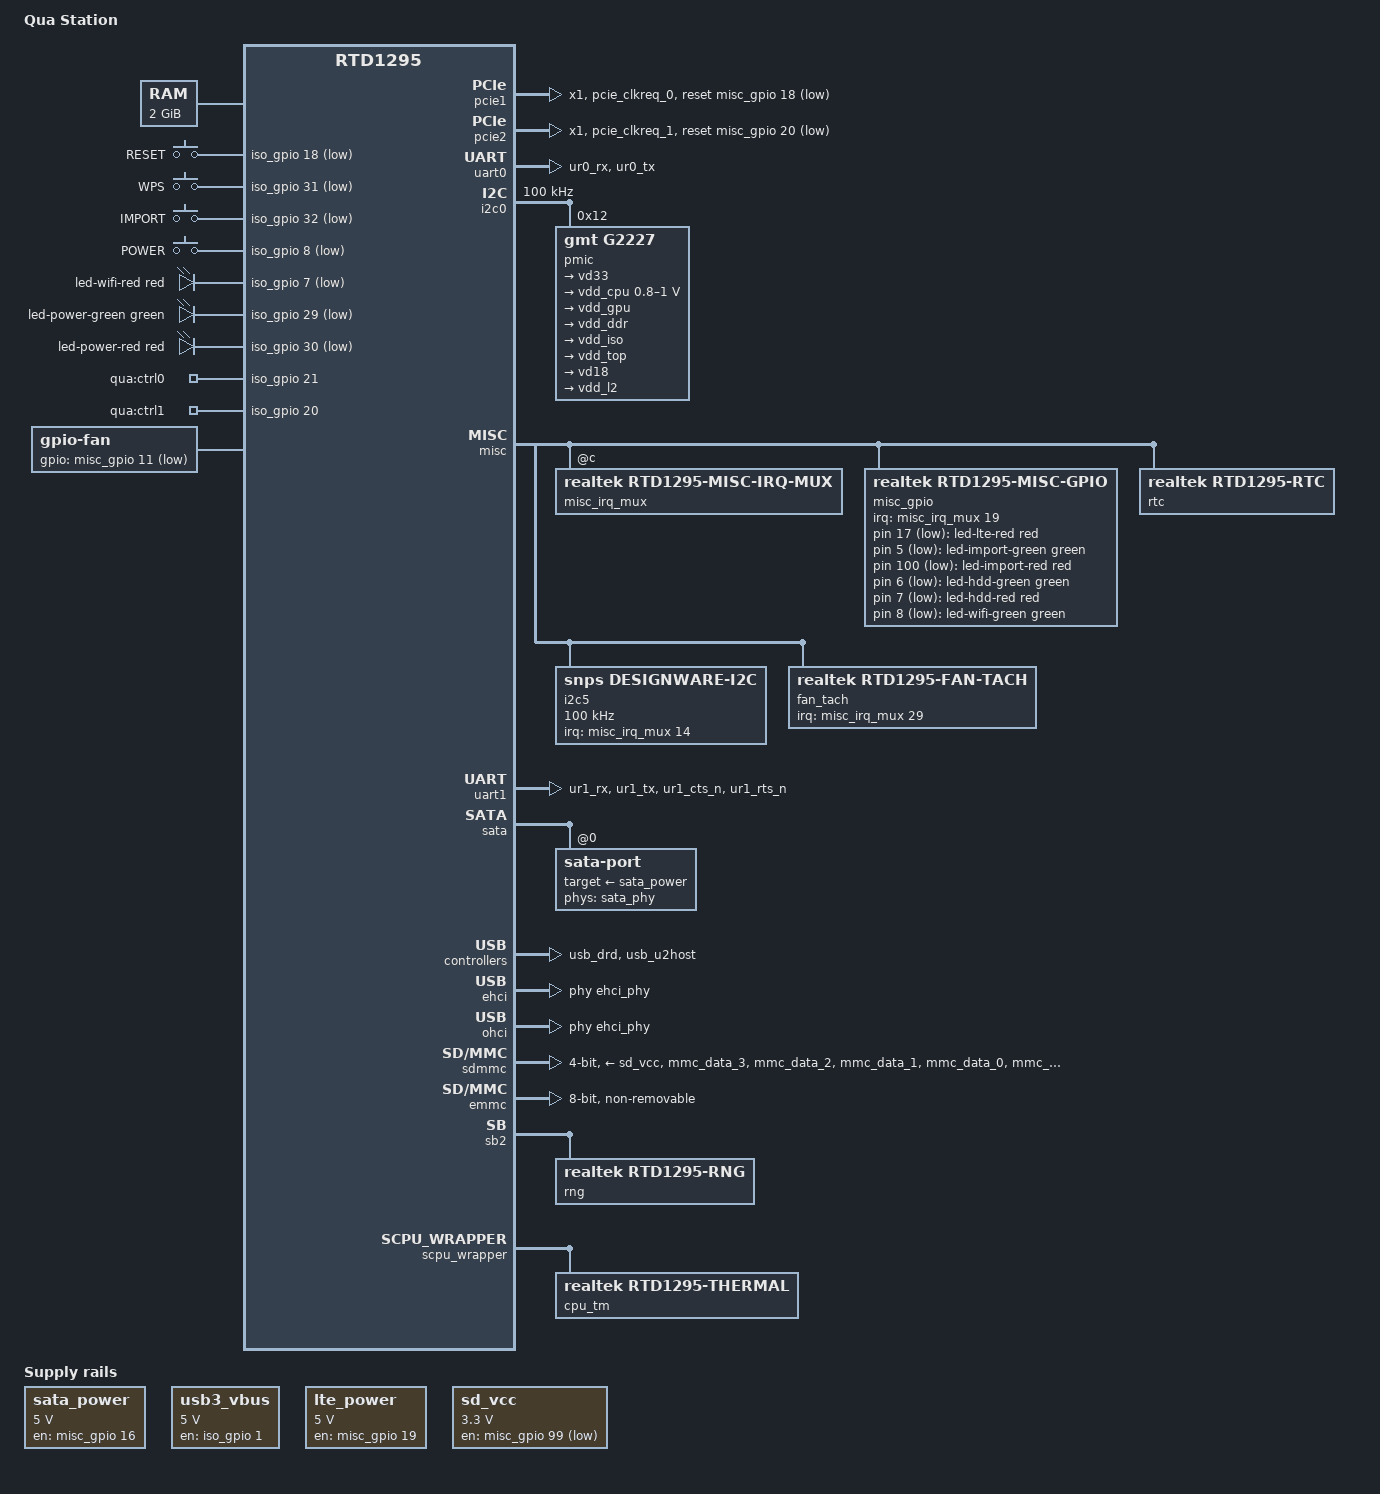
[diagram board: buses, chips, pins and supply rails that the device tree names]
// SPDX-License-Identifier: (GPL-2.0-or-later OR BSD-2-Clause)
/*
 * Device Tree for the au Qua Station (KDDI / Askey)
 *
 * Realtek RTD1295, 2 GiB DDR, 8 GB eMMC, SD card slot, SATA, two PCIe slots,
 * USB 3.0 + USB 2.0 host ports and an internal LTE modem on USB.
 */

/dts-v1/;

/*
 * Memory the vendor BSP keeps away from Linux, so that the audio CPU
 * firmware (ACPU, started by U-Boot) does not overwrite memory in use by
 * Linux. rtd129x.dtsi already covers 0x0-0x100000 and the ACPU firmware at
 * 0x1b00000.
 *
 * /memreserve/ rather than no-map: U-Boot loads the kernel at 0x03000000,
 * inside the media ION heap, as the vendor firmware did.
 */
/memreserve/	0x0000000002600000 0x0000000000600000;	/* ION audio heap */
/memreserve/	0x0000000002c00000 0x000000000b800000;	/* ION media heap 1 */
/memreserve/	0x0000000010000000 0x0000000000014000;	/* ACPU I/D mem */
/memreserve/	0x0000000011000000 0x0000000009200000;	/* ION media heap 2 */

#include "rtd1295.dtsi"
#include <dt-bindings/gpio/gpio.h>
#include <dt-bindings/thermal/thermal.h>
#include <dt-bindings/input/input.h>
#include <dt-bindings/leds/common.h>
#include <dt-bindings/clock/realtek,rtd1295-clk.h>

/ {
	compatible = "askey,quastation", "realtek,rtd1295";
	model = "Qua Station";

	memory@1f000 {
		device_type = "memory";
		reg = <0x1f000 0x7ffe1000>; /* boot ROM to 2 GiB */
	};

	aliases {
		serial0 = &uart0;
	};

	chosen {
		stdout-path = "serial0:115200n8";
		bootargs = "earlycon=uart8250,mmio32,0x98007800 console=ttyS0,115200 loglevel=8";
	};

};

&cpu0 {
	enable-method = "realtek,rtd1295-spin-table";
	cpu-release-addr = <0x0 0x9801aa44>;
	clocks = <&crt_clk RTD1295_CRT_CLK_SCPU>;
	operating-points-v2 = <&cpu_opp>;
	cpu-supply = <&vdd_cpu>;
	#cooling-cells = <2>;
};

&cpu1 {
	enable-method = "realtek,rtd1295-spin-table";
	cpu-release-addr = <0x0 0x9801aa44>;
	clocks = <&crt_clk RTD1295_CRT_CLK_SCPU>;
	operating-points-v2 = <&cpu_opp>;
	cpu-supply = <&vdd_cpu>;
	#cooling-cells = <2>;
};

&cpu2 {
	enable-method = "realtek,rtd1295-spin-table";
	cpu-release-addr = <0x0 0x9801aa44>;
	clocks = <&crt_clk RTD1295_CRT_CLK_SCPU>;
	operating-points-v2 = <&cpu_opp>;
	cpu-supply = <&vdd_cpu>;
	#cooling-cells = <2>;
};

&cpu3 {
	enable-method = "realtek,rtd1295-spin-table";
	cpu-release-addr = <0x0 0x9801aa44>;
	clocks = <&crt_clk RTD1295_CRT_CLK_SCPU>;
	operating-points-v2 = <&cpu_opp>;
	cpu-supply = <&vdd_cpu>;
	#cooling-cells = <2>;
};

&uart0 {
	status = "okay";
};

/* The PCIe interrupt-map entries use 0 parent address cells */
&gic {
	#address-cells = <0>;
};

/* Interrupt muxes and GPIO */

&iso {
	iso_irq_mux: interrupt-controller@0 {
		compatible = "realtek,rtd1295-iso-irq-mux";
		reg = <0x0 0x4>,	/* ISR (status, write 1 to clear) */
		      <0x40 0x4>;	/* SCPU interrupt enable */
		interrupts = <GIC_SPI 41 IRQ_TYPE_LEVEL_HIGH>;
		interrupt-controller;
		#interrupt-cells = <1>;
	};

	iso_gpio: gpio@100 {
		compatible = "realtek,rtd1295-iso-gpio";
		reg = <0x100 0x100>,	/* GPIO registers */
		      <0x0 0xe8>;	/* GPIO interrupt status (GPA 0x08/0xe0, GPDA 0x0c/0xe4) */
		interrupt-parent = <&iso_irq_mux>;
		interrupts = <19>, <20>;
		gpio-controller;
		#gpio-cells = <2>;
		/* iso GPIO n = iso_pinctrl pin n */
		gpio-ranges = <&iso_pinctrl 0 0 35>;
	};
};

&misc {
	misc_irq_mux: interrupt-controller@c {
		compatible = "realtek,rtd1295-misc-irq-mux";
		reg = <0xc 0x4>,	/* ISR (status, write 1 to clear) */
		      <0x80 0x4>;	/* SCPU interrupt enable */
		interrupts = <GIC_SPI 40 IRQ_TYPE_LEVEL_HIGH>;
		interrupt-controller;
		#interrupt-cells = <1>;
	};

	misc_gpio: gpio@100 {
		compatible = "realtek,rtd1295-misc-gpio";
		reg = <0x100 0x100>,	/* GPIO registers */
		      <0x0 0xc0>;	/* GPIO interrupt status (GPA 0x40/0x44/0xa4/0xb8, GPDA 0x54/0x58/0xa8/0xbc) */
		interrupt-parent = <&misc_irq_mux>;
		interrupts = <19>, <20>;
		gpio-controller;
		#gpio-cells = <2>;
		/*
		 * misc GPIO 0..53 = sb2 pins 0..53, 54..63 = disp pins 0..9,
		 * 64..100 = cr pins 0..36 (vendor BSP numbering). Requesting
		 * a GPIO muxes the pad to "gpio".
		 */
		gpio-ranges = <&sb2_pinctrl 0 0 54>,
			      <&disp_pinctrl 0 54 10>,
			      <&cr_pinctrl 0 64 37>;
	};
};

&uart0 {
	interrupt-parent = <&iso_irq_mux>;
	interrupts = <2>;
};

&uart1 {
	interrupt-parent = <&misc_irq_mux>;
	interrupts = <3>;
};

&uart2 {
	interrupt-parent = <&misc_irq_mux>;
	interrupts = <8>;
};

/* SATA */
/ {
	sata_power: regulator-sata-power {
		compatible = "regulator-fixed";
		regulator-name = "sata-power";
		regulator-min-microvolt = <5000000>;
		regulator-max-microvolt = <5000000>;
		gpio = <&misc_gpio 16 GPIO_ACTIVE_HIGH>;
		enable-active-high;
		/* let the drive power up before the PHY/link comes up */
		startup-delay-us = <100000>;
	};
};

&rbus {
	sata_phy: phy@3ff60 {
		compatible = "realtek,rtd1295-sata-phy";
		reg = <0x3ff60 0x10>;
		#phy-cells = <0>;
		realtek,sb2 = <&sb2>;
		/* BSP "tx-driving = <2>": 683 mV max swing */
		realtek,tx-driving = <2>;
	};

	sata: sata@3f000 {
		compatible = "realtek,rtd1295-ahci", "generic-ahci";
		reg = <0x3f000 0x1000>;
		interrupts = <GIC_SPI 28 IRQ_TYPE_LEVEL_HIGH>;
		/* BSP forces PORTS_IMPL; only port 0 is wired on RTD1295 */
		ports-implemented = <0x1>;
		/* released in this order before phy_init() */
		resets = <&reset1 RTD1295_RSTN_SATA_0>,
			 <&reset1 RTD1295_RSTN_SATA_PHY_0>,
			 <&reset1 RTD1295_RSTN_SATA_PHY_POW_0>;
		#address-cells = <1>;
		#size-cells = <0>;

		sata-port@0 {
			reg = <0>;
			phys = <&sata_phy>;
			target-supply = <&sata_power>;
		};
	};
};

/* PCIe */
/ {
	soc@0 {
		pcie1: pcie@9804e000 {
			compatible = "realtek,rtd1295-pcie1";
			reg = <0x9804e000 0x1000>,
			      <0x9804f000 0x1000>,
			      <0x9801c600 0x100>;
			reg-names = "ctrl", "mmio", "phy-mux";
			pinctrl-names = "default";
			pinctrl-0 = <&pcie1_clk_pins>;
			device_type = "pci";
			#address-cells = <3>;
			#size-cells = <2>;
			bus-range = <0x00 0xff>;
			linux,pci-domain = <0>;
			num-lanes = <1>;
			/* 32-bit non-prefetchable MEM, 16 MiB, 1:1 */
			ranges = <0x02000000 0x0 0xc0000000 0xc0000000 0x0 0x01000000>;
			#interrupt-cells = <1>;
			interrupt-map-mask = <0 0 0 0>;
			interrupt-map = <0 0 0 0 &gic GIC_SPI 61 IRQ_TYPE_LEVEL_HIGH>;
			resets = <&reset2 RTD1295_RSTN_PCIE0_STITCH>,
				 <&reset2 RTD1295_RSTN_PCIE0>,
				 <&reset2 RTD1295_RSTN_PCIE0_CORE>,
				 <&reset2 RTD1295_RSTN_PCIE0_POWER>,
				 <&reset2 RTD1295_RSTN_PCIE0_NONSTICH>,
				 <&reset2 RTD1295_RSTN_PCIE0_PHY>,
				 <&reset4 RTD1295_RSTN_PCIE0_PHY_MDIO>;
			reset-names = "stitch", "rstn", "core", "power",
				      "nonstitch", "phy", "phy_mdio";
			reset-gpios = <&misc_gpio 18 GPIO_ACTIVE_LOW>;
			realtek,sb2 = <&sb2>;
			status = "okay";
		};

		pcie2: pcie@9803b000 {
			compatible = "realtek,rtd1295-pcie2";
			reg = <0x9803b000 0x1000>,
			      <0x9803c000 0x1000>,
			      <0x9801c600 0x100>;
			reg-names = "ctrl", "mmio", "phy-mux";
			pinctrl-names = "default";
			pinctrl-0 = <&pcie2_clk_pins>;
			device_type = "pci";
			#address-cells = <3>;
			#size-cells = <2>;
			bus-range = <0x01 0xff>;
			linux,pci-domain = <1>;
			num-lanes = <1>;
			/* BSP "speed-mode = <0>": train at Gen1 */
			max-link-speed = <1>;
			ranges = <0x02000000 0x0 0xc1000000 0xc1000000 0x0 0x01000000>;
			#interrupt-cells = <1>;
			interrupt-map-mask = <0 0 0 0>;
			interrupt-map = <0 0 0 0 &gic GIC_SPI 62 IRQ_TYPE_LEVEL_HIGH>;
			resets = <&reset2 RTD1295_RSTN_PCIE1_STITCH>,
				 <&reset2 RTD1295_RSTN_PCIE1>,
				 <&reset2 RTD1295_RSTN_PCIE1_CORE>,
				 <&reset2 RTD1295_RSTN_PCIE1_POWER>,
				 <&reset2 RTD1295_RSTN_PCIE1_NONSTICH>,
				 <&reset2 RTD1295_RSTN_PCIE1_PHY>,
				 <&reset4 RTD1295_RSTN_PCIE1_PHY_MDIO>;
			reset-names = "stitch", "rstn", "core", "power",
				      "nonstitch", "phy", "phy_mdio";
			reset-gpios = <&misc_gpio 20 GPIO_ACTIVE_LOW>;
			realtek,sb2 = <&sb2>;
			status = "okay";
		};
	};
};

/*
 * Buttons, LEDs, thermal, I2C, fan tachometer, RNG and eFuse
 *
 * Muxed interrupt numbers are the status bit numbers in the ISO/MISC
 * interrupt status registers.
 */
/ {
	aliases {
		i2c0 = &i2c0;
		i2c5 = &i2c5;
	};

	gpio-keys {
		compatible = "gpio-keys";

		/* All buttons read 0 when pressed */
		button-reset {
			label = "RESET";
			gpios = <&iso_gpio 18 GPIO_ACTIVE_LOW>;
			linux,code = <KEY_RESTART>;
		};

		button-wps {
			label = "WPS";
			gpios = <&iso_gpio 31 GPIO_ACTIVE_LOW>;
			linux,code = <KEY_WPS_BUTTON>;
		};

		button-import {
			label = "IMPORT";	/* "COPY" on the case */
			gpios = <&iso_gpio 32 GPIO_ACTIVE_LOW>;
			linux,code = <KEY_COPY>;
		};

		button-power {
			label = "POWER";
			gpios = <&iso_gpio 8 GPIO_ACTIVE_LOW>;
			linux,code = <KEY_POWER>;
			wakeup-source;
		};
	};

	/*
	 * All LEDs are active low; red + green together show orange/yellow.
	 * Only the green power LED is on at boot, as in the vendor firmware.
	 */
	leds {
		compatible = "gpio-leds";

		/* misc GPIO 19 is the LTE modem power, not an LED */

		led-lte-red {
			color = <LED_COLOR_ID_RED>;
			function = LED_FUNCTION_MOBILE;
			gpios = <&misc_gpio 17 GPIO_ACTIVE_LOW>;
			default-state = "off";
		};

		led-import-green {
			color = <LED_COLOR_ID_GREEN>;
			function = "import";
			gpios = <&misc_gpio 5 GPIO_ACTIVE_LOW>;
			default-state = "off";
		};

		led-import-red {
			color = <LED_COLOR_ID_RED>;
			function = "import";
			gpios = <&misc_gpio 100 GPIO_ACTIVE_LOW>;
			default-state = "off";
		};

		led-hdd-green {
			color = <LED_COLOR_ID_GREEN>;
			function = LED_FUNCTION_DISK;
			gpios = <&misc_gpio 6 GPIO_ACTIVE_LOW>;
			default-state = "off";
		};

		led-hdd-red {
			color = <LED_COLOR_ID_RED>;
			function = LED_FUNCTION_DISK;
			gpios = <&misc_gpio 7 GPIO_ACTIVE_LOW>;
			default-state = "off";
		};

		led-wifi-green {
			color = <LED_COLOR_ID_GREEN>;
			function = LED_FUNCTION_WLAN;
			gpios = <&misc_gpio 8 GPIO_ACTIVE_LOW>;
			default-state = "off";
		};

		led-wifi-red {
			color = <LED_COLOR_ID_RED>;
			function = LED_FUNCTION_WLAN;
			gpios = <&iso_gpio 7 GPIO_ACTIVE_LOW>;
			default-state = "off";
		};

		led-power-green {
			color = <LED_COLOR_ID_GREEN>;
			function = LED_FUNCTION_POWER;
			gpios = <&iso_gpio 29 GPIO_ACTIVE_LOW>;
			default-state = "on";
		};

		led-power-red {
			color = <LED_COLOR_ID_RED>;
			function = LED_FUNCTION_POWER;
			gpios = <&iso_gpio 30 GPIO_ACTIVE_LOW>;
			default-state = "off";
		};

		/*
		 * Purpose unknown (led_ctrl/led_ctrl1 in the vendor DT, probably
		 * LED supply/brightness enables); kept at the vendor levels.
		 * iso GPIO 21 is also the PWM0 pad; the PWM is not used.
		 */
		led-ctrl0 {
			label = "qua:ctrl0";
			gpios = <&iso_gpio 21 GPIO_ACTIVE_HIGH>;
			default-state = "off";
		};

		led-ctrl1 {
			label = "qua:ctrl1";
			gpios = <&iso_gpio 20 GPIO_ACTIVE_HIGH>;
			default-state = "on";
		};
	};

	thermal-zones {
		cpu-thermal {
			polling-delay-passive = <250>;
			polling-delay = <1000>;
			thermal-sensors = <&cpu_tm>;

			trips {
				/* fan on (gpio-fan, misc GPIO 11); idle is ~60 C */
				cpu_fan: cpu-fan {
					temperature = <55000>;
					hysteresis = <5000>;
					type = "active";
				};

				/* passive trips from the vendor BSP */
				cpu_alert0: cpu-alert0 {
					temperature = <105000>;
					hysteresis = <3000>;
					type = "passive";
				};

				cpu_alert1: cpu-alert1 {
					temperature = <115000>;
					hysteresis = <3000>;
					type = "passive";
				};

				cpu-crit {
					temperature = <130000>;
					hysteresis = <2000>;
					type = "critical";
				};
			};

			cooling-maps {
				map-fan {
					trip = <&cpu_fan>;
					cooling-device = <&fan THERMAL_NO_LIMIT THERMAL_NO_LIMIT>;
				};
				map-cpu {
					trip = <&cpu_alert0>;
					cooling-device =
						<&cpu0 THERMAL_NO_LIMIT THERMAL_NO_LIMIT>,
						<&cpu1 THERMAL_NO_LIMIT THERMAL_NO_LIMIT>,
						<&cpu2 THERMAL_NO_LIMIT THERMAL_NO_LIMIT>,
						<&cpu3 THERMAL_NO_LIMIT THERMAL_NO_LIMIT>;
				};
			};
		};

		cr-thermal {
			polling-delay-passive = <0>;
			polling-delay = <0>;
			thermal-sensors = <&cr_tm>;
		};
	};
};

&rbus {
	/* Lies inside the card reader block, which it shares */
	cr_tm: thermal-sensor@124b4 {
		compatible = "realtek,rtd1295-thermal";
		reg = <0x124b4 0x20>;
		#thermal-sensor-cells = <0>;
	};

	efuse: efuse@17000 {
		compatible = "realtek,rtd1295-efuse";
		reg = <0x17000 0x400>;
		read-only;

		nvmem-layout {
			compatible = "fixed-layout";
			#address-cells = <1>;
			#size-cells = <1>;

			/*
			 * Only one cell per unit address can be described. The
			 * vendor BSP also defines sub-fields overlapping these:
			 * etn_phy_amp (1b9 bits 2+16), etn_phy_adc (1bb bits 2+16),
			 * etn_phy_r (1bf bits 1+4), etn_phy_rc (1bf..1c0 bits 5+4),
			 * usb_cc_en (1d8 bit 2), usb_cc1_4_7_k_cal (1d8 bits 3+4),
			 * usb_cc1_12_k_cal (1d8..1d9 bits 7+4), usb_cc2_4_7_k_cal
			 * (1d9 bits 3+4), usb_cc2_12_k_cal (1d9..1da bits 7+4) and
			 * cc_cal (1dc..1df bits 4+24).
			 */
			efuse_uuid: uuid@1a4 {
				reg = <0x1a4 0xc>;
			};

			/* Ethernet PHY calibration block */
			efuse_etn_phy: etn-phy@1b9 {
				reg = <0x1b9 0x9>;
				bits = <2 64>;
			};

			efuse_pwr_id: pwr-id@1cc {
				reg = <0x1cc 0x1>;
				bits = <6 2>;
			};

			efuse_package_id: package-id@1d8 {
				reg = <0x1d8 0x1>;
				bits = <0 2>;
			};

			efuse_top_iddq: top-iddq@1da {
				reg = <0x1da 0x2>;
				bits = <3 6>;
			};

			efuse_cpu_iddq: cpu-iddq@1db {
				reg = <0x1db 0x1>;
				bits = <1 6>;
			};

			efuse_usb_dp_dm: usb-dp-dm@1dc {
				reg = <0x1dc 0x1>;
				bits = <0 4>;
			};

			efuse_chip_id: chip-id@200 {
				reg = <0x200 0x10>;
			};

			efuse_prog_rvd: prog-rvd@3fc {
				reg = <0x3fc 0x4>;
			};
		};
	};
};

&iso {
	/*
	 * The I2C controllers are Synopsys DesignWare (v1.14a) clocked from the
	 * 27 MHz crystal. The vendor BSP sets a Realtek SDA delay register
	 * outside the block (ISO+0x84/0x80, MISC+0x8c..0x98) to 518 ns; the
	 * DesignWare SDA hold time is used for the same purpose here.
	 */
	i2c0: i2c@d00 {
		compatible = "snps,designware-i2c";
		reg = <0xd00 0x100>;
		interrupt-parent = <&iso_irq_mux>;
		interrupts = <8>;
		clocks = <&osc27M>;
		resets = <&iso_reset RTD1295_ISO_RSTN_I2C_0>;
		clock-frequency = <100000>;
		i2c-sda-hold-time-ns = <518>;
		#address-cells = <1>;
		#size-cells = <0>;

		/*
		 * GMT G2227 PMIC. Only dcdc2 (CPU) is scaled; the other rails
		 * have no voltage constraints and keep the U-Boot settings.
		 * ldo3 (L2) stays at 0.9 V, which the vendor BSP uses while
		 * the CPU rail is at most 1.0 V.
		 */
		pmic@12 {
			compatible = "gmt,g2227";
			reg = <0x12>;

			regulators {
				vd33: dcdc1 {
					regulator-name = "vd33";
					regulator-boot-on;
					regulator-always-on;
				};

				vdd_cpu: dcdc2 {
					regulator-name = "vdd_cpu";
					regulator-min-microvolt = <800000>;
					regulator-max-microvolt = <1000000>;
					regulator-boot-on;
					regulator-always-on;
				};

				vdd_gpu: dcdc3 {
					regulator-name = "vdd_gpu";
					regulator-boot-on;
					regulator-always-on;
				};

				vdd_ddr: dcdc4 {
					regulator-name = "vdd_ddr";
					regulator-boot-on;
					regulator-always-on;
				};

				vdd_iso: dcdc5 {
					regulator-name = "vdd_iso";
					regulator-boot-on;
					regulator-always-on;
				};

				vdd_top: dcdc6 {
					regulator-name = "vdd_top";
					regulator-boot-on;
					regulator-always-on;
				};

				vd18: ldo2 {
					regulator-name = "vd18";
					regulator-boot-on;
					regulator-always-on;
				};

				vdd_l2: ldo3 {
					regulator-name = "vdd_l2";
					regulator-boot-on;
					regulator-always-on;
				};
			};
		};
	};

	i2c1: i2c@c00 {
		compatible = "snps,designware-i2c";
		reg = <0xc00 0x100>;
		interrupt-parent = <&iso_irq_mux>;
		interrupts = <11>;
		clocks = <&osc27M>;
		resets = <&iso_reset RTD1295_ISO_RSTN_I2C_1>;
		clock-frequency = <100000>;
		i2c-sda-hold-time-ns = <518>;
		#address-cells = <1>;
		#size-cells = <0>;
		status = "disabled";	/* no devices; disabled in the vendor DT */
	};
};

&misc {
	/* Counts days from 2014-01-01, like the vendor driver */
	rtc@600 {
		compatible = "realtek,rtd1295-rtc";
		reg = <0x600 0x100>;
		clocks = <&crt_clk RTD1295_CRT_CLK_EN_MISC_RTC>;
	};

	i2c2: i2c@700 {
		compatible = "snps,designware-i2c";
		reg = <0x700 0x100>;
		interrupt-parent = <&misc_irq_mux>;
		interrupts = <26>;
		clocks = <&osc27M>;
		resets = <&reset2 RTD1295_RSTN_I2C_2>;
		clock-frequency = <100000>;
		i2c-sda-hold-time-ns = <518>;
		#address-cells = <1>;
		#size-cells = <0>;
		status = "disabled";	/* pins not muxed to I2C on this board */
	};

	i2c3: i2c@900 {
		compatible = "snps,designware-i2c";
		reg = <0x900 0x100>;
		interrupt-parent = <&misc_irq_mux>;
		interrupts = <23>;
		clocks = <&osc27M>;
		resets = <&reset2 RTD1295_RSTN_I2C_3>;
		clock-frequency = <100000>;
		i2c-sda-hold-time-ns = <518>;
		#address-cells = <1>;
		#size-cells = <0>;
		status = "disabled";	/* pins not muxed to I2C on this board */
	};

	i2c4: i2c@a00 {
		compatible = "snps,designware-i2c";
		reg = <0xa00 0x100>;
		interrupt-parent = <&misc_irq_mux>;
		interrupts = <15>;
		clocks = <&osc27M>;
		resets = <&reset2 RTD1295_RSTN_I2C_4>;
		clock-frequency = <100000>;
		i2c-sda-hold-time-ns = <518>;
		#address-cells = <1>;
		#size-cells = <0>;
		status = "disabled";	/* disabled in the vendor DT */
	};

	i2c5: i2c@b00 {
		compatible = "snps,designware-i2c";
		reg = <0xb00 0x100>;
		interrupt-parent = <&misc_irq_mux>;
		interrupts = <14>;
		clocks = <&osc27M>;
		resets = <&reset2 RTD1295_RSTN_I2C_5>;
		clock-frequency = <100000>;
		i2c-sda-hold-time-ns = <518>;
		#address-cells = <1>;
		#size-cells = <0>;
		/* pins muxed to I2C, no devices known */
	};

	/*
	 * Fan tachometer (pad gpio_9). The fan speed is not driven by the PWM
	 * block, which the vendor DT disables; see gpio-fan below.
	 */
	fan_tach: fan@c00 {
		compatible = "realtek,rtd1295-fan-tach";
		reg = <0xc00 0x14>;
		interrupt-parent = <&misc_irq_mux>;
		interrupts = <29>;
		resets = <&reset4 RTD1295_RSTN_FAN>;
	};
};

&sb2 {
	/* 0x44 (RNG_DUMMY) is the spin-table cpu-release-addr: not mapped */
	rng@a00 {
		compatible = "realtek,rtd1295-rng";
		reg = <0xa00 0x3c>;
	};
};

&scpu_wrapper {
	cpu_tm: thermal-sensor@150 {
		compatible = "realtek,rtd1295-thermal";
		reg = <0x150 0x20>;
		#thermal-sensor-cells = <0>;
	};
};

/*
 * USB
 *
 *   DRD    dwc3 @0x98020000 (USB2 + USB3 PHY): rear USB 3.0 Type-A port.
 *          Host only; the vendor Type-C logic is unused, there is no Type-C
 *          connector. VBUS is iso GPIO 1.
 *   U2HOST dwc3 @0x98029000 (USB2 PHY only): internal LTE modem
 *          (Askey MDM9307, 05c6:9026), powered by misc GPIO 19.
 *   EHCI/OHCI @0x98013000/0x98013400 (RLE0599 PHY): rear USB 2.0 Type-A
 *          port, the one U-Boot boots from. VBUS is not switchable.
 *   U3HOST dwc3 @0x981f0000 is not wired on this board and not described.
 *
 * All USB controllers share GIC SPI 21. The USB power domain in ISO
 * 0x98007fb0 is on at boot and not handled by Linux.
 *
 * The USB2 PHY regions overlap the glue (0x13200/0x13c00) and core
 * (0x20000/0x29000) regions on purpose: they are single registers inside
 * those blocks.
 *
 * Binding deviations:
 *  - realtek,rtd-dwc3 expects a second "pm control" reg; the RTD1295 has no
 *    such register, so it is omitted.
 *  - "realtek,rtd1295-ehci"/"-ohci" and "realtek,rtd1295-rle0599-phy" are
 *    not documented yet.
 */

/ {
	/* rear USB 3.0 port VBUS */
	usb3_vbus: regulator-usb3-vbus {
		compatible = "regulator-fixed";
		regulator-name = "usb3-vbus";
		regulator-min-microvolt = <5000000>;
		regulator-max-microvolt = <5000000>;
		gpio = <&iso_gpio 1 GPIO_ACTIVE_HIGH>;
		enable-active-high;
		regulator-boot-on;
		regulator-always-on;	/* no consumer: dwc3 has no vbus-supply */
	};

	/*
	 * LTE modem power. The vendor DT also declares an active-low LED
	 * "lte_led_g" on this pin; it must not be added, as lighting it would
	 * switch the modem off.
	 */
	lte_power: regulator-lte-power {
		compatible = "regulator-fixed";
		regulator-name = "lte-power";
		regulator-min-microvolt = <5000000>;
		regulator-max-microvolt = <5000000>;
		gpio = <&misc_gpio 19 GPIO_ACTIVE_HIGH>;
		enable-active-high;
		regulator-boot-on;
		regulator-always-on;
	};
};

&rbus {
	/* DRD: rear USB 3.0 port */
	drd_usb2phy: usb-phy@13214 {
		compatible = "realtek,rtd1295-usb2phy";
		reg = <0x13214 0x4>,	/* wrapper VStatusOut2 */
		      <0x28280 0x4>;	/* GUSB2PHYACC0 of dwc3 @0x20000 */
		#phy-cells = <0>;
	};

	drd_usb3phy: usb-phy@13210 {
		compatible = "realtek,rtd1295-usb3phy";
		reg = <0x13210 0x4>;	/* MDIO control */
		#phy-cells = <0>;
	};

	usb_drd: usb@13200 {
		compatible = "realtek,rtd1295-dwc3", "realtek,rtd-dwc3";
		reg = <0x13200 0x150>;	/* includes the Type-C SS lane switch at 0x1334c */
		/*
		 * Clock and resets shared by all USB controllers, released once
		 * in the vendor order by whichever glue probes first.
		 */
		clocks = <&crt_clk RTD1295_CRT_CLK_EN_USB>;
		resets = <&reset1 RTD1295_RSTN_USB_PHY0>,
			 <&reset1 RTD1295_RSTN_USB3_PHY0_POW>,
			 <&reset1 RTD1295_RSTN_USB_PHY1>,
			 <&reset2 RTD1295_RSTN_USB_PHY2>,
			 <&reset1 RTD1295_RSTN_USB3_P0_MDIO>,
			 <&reset1 RTD1295_RSTN_USB>;
		reset-names = "u2phy0", "u3phy0", "u2phy1", "u2phy2",
			      "u3mdio0", "usb";
		#address-cells = <1>;
		#size-cells = <1>;
		ranges;

		usb@20000 {
			compatible = "snps,dwc3";
			reg = <0x20000 0x9000>;
			interrupts = <GIC_SPI 21 IRQ_TYPE_LEVEL_HIGH>;
			/* without the USB3 PHY the port only runs at USB2 speeds */
			phys = <&drd_usb2phy>, <&drd_usb3phy>;
			phy-names = "usb2-phy", "usb3-phy";
			resets = <&reset1 RTD1295_RSTN_USB_PHY0>,
				 <&reset1 RTD1295_RSTN_USB3_PHY0_POW>,
				 <&reset1 RTD1295_RSTN_USB3_P0_MDIO>,
				 <&reset1 RTD1295_RSTN_USB>;
			dr_mode = "host";
			snps,dis_u2_susphy_quirk;
		};
	};

	/* U2HOST: internal LTE modem */
	u2host_usb2phy: usb-phy@13c14 {
		compatible = "realtek,rtd1295-usb2phy";
		reg = <0x13c14 0x4>,	/* wrapper VStatusOut2 */
		      <0x31280 0x4>;	/* GUSB2PHYACC0 of dwc3 @0x29000 */
		#phy-cells = <0>;
	};

	usb_u2host: usb@13c00 {
		compatible = "realtek,rtd1295-dwc3", "realtek,rtd-dwc3";
		reg = <0x13c00 0x140>;
		/* same shared clock and resets as usb_drd */
		clocks = <&crt_clk RTD1295_CRT_CLK_EN_USB>;
		resets = <&reset1 RTD1295_RSTN_USB_PHY0>,
			 <&reset1 RTD1295_RSTN_USB3_PHY0_POW>,
			 <&reset1 RTD1295_RSTN_USB_PHY1>,
			 <&reset2 RTD1295_RSTN_USB_PHY2>,
			 <&reset1 RTD1295_RSTN_USB3_P0_MDIO>,
			 <&reset1 RTD1295_RSTN_USB>;
		reset-names = "u2phy0", "u3phy0", "u2phy1", "u2phy2",
			      "u3mdio0", "usb";
		#address-cells = <1>;
		#size-cells = <1>;
		ranges;

		usb@29000 {
			compatible = "snps,dwc3";
			reg = <0x29000 0x9000>;
			interrupts = <GIC_SPI 21 IRQ_TYPE_LEVEL_HIGH>;
			phys = <&u2host_usb2phy>;
			phy-names = "usb2-phy";
			resets = <&reset1 RTD1295_RSTN_USB_PHY1>,
				 <&reset1 RTD1295_RSTN_USB>;
			dr_mode = "host";
			/* no USB3 PHY */
			maximum-speed = "high-speed";
			snps,dis_u2_susphy_quirk;
		};
	};

	/* EHCI/OHCI: rear USB 2.0 port */
	ehci_phy: usb-phy@13820 {
		compatible = "realtek,rtd1295-rle0599-phy";
		reg = <0x13820 0x8>,	/* wrapper: OHCI clock gate, VStatusOut2 */
		      <0x130a4 0x4>;	/* EHCI INSNREG05 */
		#phy-cells = <0>;
	};

	ehci: usb@13000 {
		compatible = "realtek,rtd1295-ehci", "generic-ehci";
		reg = <0x13000 0x100>;
		interrupts = <GIC_SPI 21 IRQ_TYPE_LEVEL_HIGH>;
		phys = <&ehci_phy>;
		resets = <&reset2 RTD1295_RSTN_USB_PHY2>,
			 <&reset1 RTD1295_RSTN_USB>;
		companion = <&ohci>;
	};

	ohci: usb@13400 {
		compatible = "realtek,rtd1295-ohci", "generic-ohci";
		reg = <0x13400 0x100>;
		interrupts = <GIC_SPI 21 IRQ_TYPE_LEVEL_HIGH>;
		phys = <&ehci_phy>;
		resets = <&reset2 RTD1295_RSTN_USB_PHY2>,
			 <&reset1 RTD1295_RSTN_USB>;
	};
};

/*
 * Clock controllers. They use the regmap of the parent syscon and have no
 * reg of their own. The UARTs keep using clock-frequency: the UR1/UR2
 * gates have no parent rate.
 */
&crt {
	crt_clk: clock-controller {
		compatible = "realtek,rtd1295-crt-clk";
		clocks = <&osc27M>;
		#clock-cells = <1>;
	};
};

&iso {
	iso_clk: clock-controller {
		compatible = "realtek,rtd1295-iso-clk";
		clocks = <&osc27M>;
		#clock-cells = <1>;
	};
};

/*
 * Pin controllers. The pad registers are split over four blocks (ISO, SB2,
 * DISP and CR), each with its own controller. Pin names are the vendor pad
 * names, one group per pad.
 *
 * The vendor I2C states only set the pull select bit without enabling the
 * pull, so the I2C states here set no bias.
 */

&iso {
	iso_pinctrl: pinctrl@300 {
		compatible = "realtek,rtd1295-iso-pinctrl";
		reg = <0x300 0x24>;

		uart0_pins: uart0-pins {
			pins = "ur0_rx", "ur0_tx";
			function = "uart0";
		};

		uart1_pins: uart1-pins {
			pins = "ur1_rx", "ur1_tx", "ur1_cts_n", "ur1_rts_n";
			function = "uart1";
		};

		i2c0_pins: i2c0-pins {
			pins = "i2c_scl_0", "i2c_sda_0";
			function = "i2c0";
		};

		i2c1_pins: i2c1-pins {
			pins = "i2c_scl_1", "i2c_sda_1";
			function = "i2c1";
		};

		/*
		 * The RESET button (iso GPIO 18) is on the i2c_scl_1 pad. Left
		 * muxed to the unused I2C1 block, it reads low (pressed) once
		 * that block's clock is gated, so mux it to GPIO.
		 */
		reset_key_pins: reset-key-pins {
			pins = "i2c_scl_1";
			function = "gpio";
		};

		i2c6_pins: i2c6-pins {
			pins = "i2c_scl_6", "i2c_sda_6";
			function = "i2c6";
		};

		etn_led_pins: etn-led-pins {
			pins = "etn_led_link", "etn_led_rxtx";
			function = "etn_led";
		};

		ir_rx_pins: ir-rx-pins {
			pins = "ir_rx";
			function = "ir_rx";
		};

		ir_tx_pins: ir-tx-pins {
			pins = "ir_tx";
			function = "ir_tx";
		};
	};
};

&sb2 {
	sb2_pinctrl: pinctrl@900 {
		compatible = "realtek,rtd1295-sb2-pinctrl";
		reg = <0x900 0x80>;

		i2c5_pins: i2c5-pins {
			pins = "i2c_sda_5", "i2c_scl_5";
			function = "i2c5";
		};

		/* SPI flash pads used as GPIO */
		spi_loc_gpio_pins: spi-loc-gpio-pins {
			pins = "gpio_0", "gpio_1", "gpio_2", "gpio_3", "sf_en";
			function = "gpio";
		};

		/* fan tachometer input */
		dc_fan_sensor_pins: dc-fan-sensor-pins {
			pins = "gpio_9";
			function = "dc_fan_sensor";
		};

		/* Ethernet RGMII */
		rgmii0_pins: rgmii0-pins {
			pins = "rgmii0_txc", "rgmii0_tx_ctl", "rgmii0_txd_0",
			       "rgmii0_txd_1", "rgmii0_txd_2", "rgmii0_txd_3",
			       "rgmii0_rxc", "rgmii0_rx_ctl", "rgmii0_rxd_0",
			       "rgmii0_rxd_1", "rgmii0_rxd_2", "rgmii0_rxd_3",
			       "rgmii0_mdio", "rgmii0_mdc";
			function = "rgmii";
		};

		/*
		 * PCIe PERST# (misc GPIO 18 and 20). Requesting the GPIO muxes
		 * these pads already; the states are not referenced.
		 */
		pcie1_perst_pins: pcie1-perst-pins {
			pins = "sensor_rst";
			function = "gpio";
		};

		pcie2_perst_pins: pcie2-perst-pins {
			pins = "sensor_stb_1";
			function = "gpio";
		};
	};
};

&rbus {
	disp_pinctrl: pinctrl@4d000 {
		compatible = "realtek,rtd1295-disp-pinctrl";
		reg = <0x4d000 0x10>;
		/* audio pads only, none used on this board */
	};

	cr_pinctrl: pinctrl@12600 {
		compatible = "realtek,rtd1295-cr-pinctrl";
		reg = <0x12600 0x20>;

		/* BSP sdcard_low: pull_en = 1, pull_sel = 0 */
		sdcard_low_pins: sdcard-low-pins {
			pins = "mmc_data_3", "mmc_data_2", "mmc_data_1",
			       "mmc_data_0", "mmc_clk", "mmc_cmd";
			function = "sd_card";
			bias-pull-down;
		};

		/* BSP sdcard_high: pull_en = 1, pull_sel = 1 */
		sdcard_high_pins: sdcard-high-pins {
			pins = "mmc_cd", "mmc_wp";
			function = "sd_card";
			bias-pull-up;
		};

		pcie1_clk_pins: pcie1-clk-pins {
			pins = "pcie_clkreq_0";
			function = "pcie";
		};

		pcie2_clk_pins: pcie2-clk-pins {
			pins = "pcie_clkreq_1";
			function = "pcie";
		};
	};
};

/* Pin states applied at boot, as in the vendor firmware */
&cr_pinctrl {
	pinctrl-names = "default";
	pinctrl-0 = <&sdcard_low_pins>, <&sdcard_high_pins>;
};

&iso_pinctrl {
	pinctrl-names = "default";
	pinctrl-0 = <&i2c0_pins>, <&reset_key_pins>, <&i2c6_pins>, <&etn_led_pins>;
};

&sb2_pinctrl {
	pinctrl-names = "default";
	pinctrl-0 = <&i2c5_pins>, <&spi_loc_gpio_pins>, <&dc_fan_sensor_pins>;
};

&uart0 {
	pinctrl-names = "default";
	pinctrl-0 = <&uart0_pins>;
};

&uart1 {
	pinctrl-names = "default";
	pinctrl-0 = <&uart1_pins>;
};

/*
 * eMMC and SD card
 *
 * The card reader block is split between the eMMC controller (DesignWare
 * MSHC + Realtek wrapper, 0x12000-0x125ff), the CR pin controller
 * (0x12600-0x1261f) and the pad drive registers shared by eMMC and SD
 * (0x12620-0x12643).
 *
 * Resets are deliberately not described: the eMMC reset also resets the CR
 * pad block, and the "cr" reset covers the DMA path shared by eMMC, SD and
 * SDIO. U-Boot releases both.
 */

/ {
	sd_vcc: regulator-sd-vcc {
		compatible = "regulator-fixed";
		regulator-name = "sd-vcc";
		regulator-min-microvolt = <3300000>;
		regulator-max-microvolt = <3300000>;
		/* driven low = card powered */
		gpio = <&misc_gpio 99 GPIO_ACTIVE_LOW>;
	};
};

&cr_pinctrl {
	/* The SD controller claims the card pins itself: no hog */
	/delete-property/ pinctrl-names;
	/delete-property/ pinctrl-0;

	/* card powered: pull-ups on CMD/DAT, pull-down on CLK (BSP 0x33333323) */
	sdcard_on_low_pins: sdcard-on-low-pins {
		pins = "mmc_data_3", "mmc_data_2", "mmc_data_1",
		       "mmc_data_0", "mmc_cmd";
		function = "sd_card";
		bias-pull-up;
	};

	sdcard_on_clk_pins: sdcard-on-clk-pins {
		pins = "mmc_clk";
		function = "sd_card";
		bias-pull-down;
	};
};

&rbus {
	cr_pad_drive: syscon@12620 {
		compatible = "syscon";
		reg = <0x12620 0x24>;
		reg-io-width = <4>;
	};

	sdmmc: mmc@10400 {
		compatible = "realtek,rtd1295-sd";
		reg = <0x10400 0x200>;
		interrupts = <GIC_SPI 44 IRQ_TYPE_LEVEL_HIGH>;
		realtek,crt = <&crt>;
		realtek,pad-syscon = <&cr_pad_drive>;
		realtek,sb2 = <&sb2>;
		/* "default" = card unpowered, pulled down */
		pinctrl-names = "default", "power-on";
		pinctrl-0 = <&sdcard_low_pins>, <&sdcard_high_pins>;
		pinctrl-1 = <&sdcard_on_low_pins>, <&sdcard_on_clk_pins>,
			    <&sdcard_high_pins>;
		vmmc-supply = <&sd_vcc>;
		bus-width = <4>;
		cap-sd-highspeed;
		no-sdio;
		no-mmc;
		/* card detect and write protect come from the controller */
		status = "okay";
	};

	emmc: mmc@12000 {
		compatible = "realtek,rtd1295-emmc";
		realtek,sb2 = <&sb2>;
		reg = <0x12000 0x600>;
		interrupts = <GIC_SPI 42 IRQ_TYPE_LEVEL_HIGH>;
		realtek,crt = <&crt>;
		realtek,pad-syscon = <&cr_pad_drive>;
		/* in 32-bit words; FIFOTH as left by U-Boot cannot be used */
		fifo-depth = <128>;
		bus-width = <8>;
		non-removable;
		cap-mmc-highspeed;
		no-sd;
		no-sdio;
		/* <clk cmd data ds> pad drive, vendor values */
		realtek,drive-strength-hs = <0x77 0x77 0x77 0x77>;
		realtek,drive-strength-hs200 = <0xbb 0xbb 0xbb 0xbb>;
		/* HS200 at ~190 MHz; tuning only uses read commands */
		mmc-hs200-1_8v;
		status = "okay";
	};
};

/* Clocks */
&sata {
	clocks = <&crt_clk RTD1295_CRT_CLK_EN_SATA_0>,
		 <&crt_clk RTD1295_CRT_CLK_EN_SATA_ALIVE_0>;
};

&pcie1 {
	clocks = <&crt_clk RTD1295_CRT_CLK_EN_PCIE0>;
};

&pcie2 {
	clocks = <&crt_clk RTD1295_CRT_CLK_EN_PCIE1>;
};

&emmc {
	clocks = <&crt_clk RTD1295_CRT_CLK_EN_EMMC>,
		 <&crt_clk RTD1295_CRT_CLK_EN_EMMC_IP>,
		 <&crt_clk RTD1295_CRT_CLK_EN_CR>;
	clock-names = "emmc", "emmc_ip", "cr";
};

&sdmmc {
	clocks = <&crt_clk RTD1295_CRT_CLK_EN_CR>,
		 <&crt_clk RTD1295_CRT_CLK_EN_SD_IP>;
	clock-names = "cr", "sd_ip";
};

&ehci {
	clocks = <&crt_clk RTD1295_CRT_CLK_EN_USB>;
};

&ohci {
	clocks = <&crt_clk RTD1295_CRT_CLK_EN_USB>;
};

&i2c0 {
	clocks = <&iso_clk RTD1295_ISO_CLK_EN_I2C0>;
};

&i2c5 {
	clocks = <&crt_clk RTD1295_CRT_CLK_EN_MISC_I2C_5>;
};

&fan_tach {
	clocks = <&crt_clk RTD1295_CRT_CLK_EN_FAN>;
};

/ {
	/*
	 * CPU OPPs from the vendor BSP. Only OPPs needing at most 1.0 V are
	 * listed: above that the vendor BSP also raises the L2 rail.
	 */
	cpu_opp: opp-table-cpu {
		compatible = "operating-points-v2";
		opp-shared;

		opp-300000000 {
			opp-hz = /bits/ 64 <300000000>;
			opp-microvolt = <800000>;
			clock-latency-ns = <150000>;
		};
		opp-500000000 {
			opp-hz = /bits/ 64 <500000000>;
			opp-microvolt = <800000>;
			clock-latency-ns = <150000>;
		};
		opp-600000000 {
			opp-hz = /bits/ 64 <600000000>;
			opp-microvolt = <825000>;
			clock-latency-ns = <150000>;
		};
		opp-800000000 {
			opp-hz = /bits/ 64 <800000000>;
			opp-microvolt = <875000>;
			clock-latency-ns = <150000>;
		};
		opp-1000000000 {
			opp-hz = /bits/ 64 <1000000000>;
			opp-microvolt = <925000>;
			clock-latency-ns = <150000>;
		};
		opp-1100000000 {
			opp-hz = /bits/ 64 <1100000000>;
			opp-microvolt = <962500>;
			clock-latency-ns = <150000>;
		};
	};

	/*
	 * Fan on misc GPIO 11 (i2c_scl_4 pad). Low = on (~2300 rpm); high
	 * stalls the fan (it only keeps turning slowly if already spinning),
	 * so it is used as on/off only. Leave misc GPIO 12 (i2c_sda_4) alone.
	 */
	fan: gpio-fan {
		compatible = "gpio-fan";
		gpios = <&misc_gpio 11 GPIO_ACTIVE_LOW>;
		gpio-fan,speed-map = <0 0>, <2300 1>;
		#cooling-cells = <2>;
	};
};
